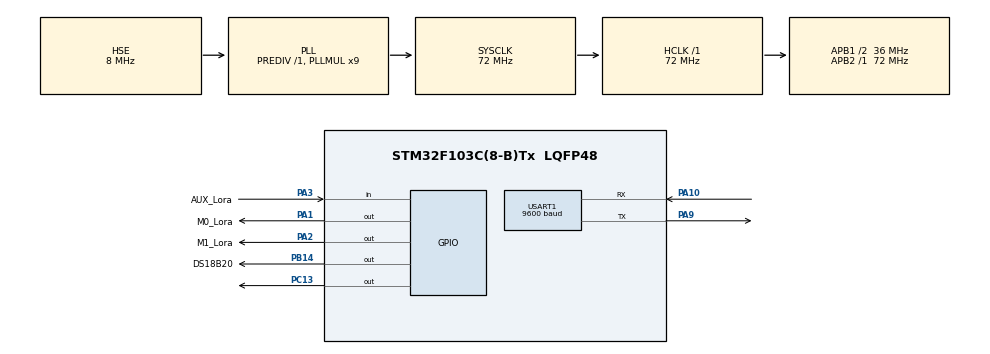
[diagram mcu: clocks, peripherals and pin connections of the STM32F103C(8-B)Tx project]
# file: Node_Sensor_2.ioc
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Mcu.Family=STM32F1
Mcu.Name=STM32F103C(8-B)Tx
Mcu.Package=LQFP48
NVIC.PriorityGroup=NVIC_PRIORITYGROUP_4
NVIC.USART1_IRQn=true\:1\:0\:true\:false\:true\:true\:true\:true
PA1.GPIO_Label=M0_Lora
PA1.Signal=GPIO_Output
PA10.Mode=Asynchronous
PA10.Signal=USART1_RX
PA13.Mode=Serial_Wire
PA13.Signal=SYS_JTMS-SWDIO
PA14.Mode=Serial_Wire
PA14.Signal=SYS_JTCK-SWCLK
PA2.GPIO_Label=M1_Lora
PA2.Signal=GPIO_Output
PA3.GPIO_Label=AUX_Lora
PA3.Signal=GPIO_Input
PA9.Mode=Asynchronous
PA9.Signal=USART1_TX
PB14.GPIO_Label=DS18B20
PB14.Signal=GPIO_Output
PC13-TAMPER-RTC.PinState=GPIO_PIN_RESET
PC13-TAMPER-RTC.Signal=GPIO_Output
PD0-OSC_IN.Mode=HSE-External-Oscillator
PD0-OSC_IN.Signal=RCC_OSC_IN
PD1-OSC_OUT.Mode=HSE-External-Oscillator
PD1-OSC_OUT.Signal=RCC_OSC_OUT
ProjectManager.HeapSize=0x200
ProjectManager.StackSize=0x400
ProjectManager.TargetToolchain=STM32CubeIDE
RCC.AHBFreq_Value=72000000
RCC.APB1CLKDivider=RCC_HCLK_DIV2
RCC.APB1Freq_Value=36000000
RCC.APB1TimFreq_Value=72000000
RCC.APB2Freq_Value=72000000
RCC.APB2TimFreq_Value=72000000
RCC.HCLKFreq_Value=72000000
RCC.PLLMUL=RCC_PLL_MUL9
RCC.PLLSourceVirtual=RCC_PLLSOURCE_HSE
RCC.SYSCLKFreq_VALUE=72000000
RCC.SYSCLKSource=RCC_SYSCLKSOURCE_PLLCLK
RCC.USBFreq_Value=72000000
TIM4.Prescaler=72-1
USART1.BaudRate=9600
USART1.VirtualMode=VM_ASYNC
VP_TIM4_VS_ClockSourceINT.Mode=Internal
board=custom

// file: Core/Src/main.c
/* USER CODE BEGIN Header */
/**
  ******************************************************************************
  * @file           : main.c
  * @brief          : Main program body
  ******************************************************************************
  * @attention
  *
  * <h2><center>&copy; Copyright (c) 2022 STMicroelectronics.
  * All rights reserved.</center></h2>
  *
  * This software component is licensed by ST under BSD 3-Clause license,
  * the "License"; You may not use this file except in compliance with the
  * License. You may obtain a copy of the License at:
  *                        opensource.org/licenses/BSD-3-Clause
  *
  ******************************************************************************
  */
/* USER CODE END Header */
#include "main.h"

/* USER CODE BEGIN Includes */
#include "string.h"
#include "math.h"
#include "DS18B20.h"
#include "stdio.h"

/* USER CODE END Includes */

/* USER CODE BEGIN PTD */
typedef enum option_t{
	TRANSPARENT,
	POINT2POINT
} option_t;

typedef enum mode_lora {
	  General_Mode,
	  Power_Saving_Mode,
	  Wake_up_Mode,
	  Sleep_Mode
} mode_lora;

typedef enum Trang_thai{
	FAIL,
	SUCCEED
} Trang_thai;

/* USER CODE END PTD */

 TIM_HandleTypeDef htim4;
UART_HandleTypeDef huart1;

/* USER CODE BEGIN PV */
  float temp;
	DS18B20_Name DS1;
	int temp_tenth, temp_unit, temp_decimal;
  char data[4];
  char data1[]="NO2";
	uint8_t flag=0;
/* USER CODE END PV */

void SystemClock_Config(void);
static void MX_GPIO_Init(void);
static void MX_USART1_UART_Init(void);
static void MX_TIM4_Init(void);

/* USER CODE BEGIN 0 */

// Function that changing mode of module Lora
Trang_thai change_mode(GPIO_TypeDef *GPIOx_AUX, uint16_t GPIO_Pin_AUX,
					   GPIO_TypeDef *GPIOx_M0, uint16_t GPIO_Pin_M0,
					   GPIO_TypeDef *GPIOx_M1, uint16_t GPIO_Pin_M1, mode_lora mode)
{
	GPIO_PinState read_pin_AUX = HAL_GPIO_ReadPin(GPIOx_AUX,GPIO_Pin_AUX);
	while(read_pin_AUX==GPIO_PIN_RESET){

	};
	HAL_Delay(5);
	if(read_pin_AUX==GPIO_PIN_SET){
		switch(mode)
			{
			case General_Mode:
				HAL_GPIO_WritePin(GPIOx_M0,GPIO_Pin_M0 , GPIO_PIN_RESET);
			  HAL_GPIO_WritePin(GPIOx_M1, GPIO_Pin_M1, GPIO_PIN_RESET);
			HAL_Delay(10);
			break;
			case Power_Saving_Mode:
				HAL_GPIO_WritePin(GPIOx_M0, GPIO_Pin_M0, GPIO_PIN_SET);
			  HAL_GPIO_WritePin(GPIOx_M1,GPIO_Pin_M1 , GPIO_PIN_RESET);
			HAL_Delay(10);
			break;
			case Wake_up_Mode:
				HAL_GPIO_WritePin(GPIOx_M0, GPIO_Pin_M0, GPIO_PIN_RESET);
			  HAL_GPIO_WritePin(GPIOx_M1,GPIO_Pin_M1 , GPIO_PIN_SET);
			HAL_Delay(10);
			break;
			case Sleep_Mode:
				HAL_GPIO_WritePin(GPIOx_M0,GPIO_Pin_M0 , GPIO_PIN_SET);
			  HAL_GPIO_WritePin(GPIOx_M1, GPIO_Pin_M1, GPIO_PIN_SET);
			HAL_Delay(10);
			break;
			default:
				HAL_GPIO_WritePin(GPIOx_M0,GPIO_Pin_M0 , GPIO_PIN_RESET);
			  HAL_GPIO_WritePin(GPIOx_M1,GPIO_Pin_M1 , GPIO_PIN_RESET);
			HAL_Delay(10);
				break;
		}
	};

	while(read_pin_AUX == GPIO_PIN_RESET)
	{

	};
	HAL_Delay(5);
if (read_pin_AUX	==GPIO_PIN_SET)
	{
		return SUCCEED;
	}
	else
	{
		return FAIL;
	}

}
// function that confige parameter for module Lora
void config_lora(UART_HandleTypeDef *huart, int baudrate,
					 uint8_t add_high_byte, uint8_t add_low_byte, option_t option)
{
	uint8_t SPEED;
	uint8_t OPTION;
	uint8_t ADDH = add_high_byte;
	uint8_t ADDL = add_low_byte;

	/* 433MHz */
	uint8_t CHAN = 0x17;
	switch(baudrate)
	{
		case 1200:
			SPEED = 0x02;
			break;
		case 2400:
			SPEED = 0x0A;
			break;
		case 4800:
			SPEED = 0x12;
			break;
		case 9600:
			SPEED = 0x1A;
			break;
		case 19200:
			SPEED = 0x22;
			break;
		case 38400:
			SPEED = 0x2A;
			break;
		case 57600:
			SPEED = 0x32;
			break;
		case 115200:
			SPEED = 0x3A;
			break;
		default:
			SPEED = 0x1A;
	};

	switch(option)
	{
		case TRANSPARENT:
			OPTION = 0x40 ;
			break;
		case POINT2POINT:
			OPTION = 0xC0;
			break;
		default:
			OPTION = 0x40;
		break;
	};

	uint8_t config_cmd[] = {0xC0, ADDH, ADDL, SPEED, CHAN, OPTION};

	/* Configure */

	HAL_UART_Transmit(huart, config_cmd, sizeof(config_cmd), 100);
	HAL_Delay(150);
}

// ISR of UART
void HAL_UART_RxCpltCallback(UART_HandleTypeDef *huart)
{
  // Check received data
   if(strcmp(data, data1) == 0){
    // First request of Gateway
		 if(flag==0){
      // Read Sensor
				temp=DS18B20_ReadTemp(&DS1);
				temp_tenth=(int)((temp)/10);
				temp_unit =(int)((int)temp%10);
				temp_decimal=(int)((temp-temp_tenth*10-temp_unit)*10);
				HAL_GPIO_TogglePin(GPIOC,GPIO_PIN_13);
      // Create message
				uint8_t TX_Buffer[]={0x00, 0x20, 0x17, temp_tenth+48, temp_unit+48, temp_decimal+48};
      // Transmit to module Lora
				HAL_UART_Transmit(huart, TX_Buffer, sizeof(TX_Buffer),100);
				flag=1;
		 }
     // Sencond request of Gateway (when message is missed in first time)
	   else if(flag==1){
				uint8_t TX_Buffer[]={ 0x00, 0x20, 0x17, temp_tenth+48, temp_unit+48, temp_decimal+48};
				HAL_UART_Transmit(huart, TX_Buffer, sizeof(TX_Buffer),100);
				flag=0;
		}
	 }
	 else{
		 flag=0;
	 }
}

/* USER CODE END 0 */

int main(void)
{

  /* MCU Configuration--------------------------------------------------------*/

  /* Reset of all peripherals, Initializes the Flash interface and the Systick. */
  HAL_Init();

  /* Configure the system clock */
  SystemClock_Config();

  /* Initialize all configured peripherals */
  MX_GPIO_Init();
  MX_USART1_UART_Init();
  MX_TIM4_Init();
  /* USER CODE BEGIN 2 */
	Trang_thai state;
  // Change to Sleep mode to configure
	state = change_mode(GPIOA, GPIO_PIN_3, GPIOA,GPIO_PIN_1, GPIOA, GPIO_PIN_2, Sleep_Mode);
	if(state==FAIL){
		state = change_mode(GPIOA, GPIO_PIN_3, GPIOA,GPIO_PIN_1, GPIOA, GPIO_PIN_2, Sleep_Mode);
	}
  // Configure address and channel
	config_lora(&huart1,9600,0x00, 0x02, POINT2POINT);
  // Change to General mode
	state = change_mode(GPIOA, GPIO_PIN_3, GPIOA,GPIO_PIN_1, GPIOA, GPIO_PIN_2, General_Mode);
  // Initilize sensor
	DS18B20_Init(&DS1, &htim4, DS18B20_GPIO_Port, DS18B20_Pin);

  /* USER CODE END 2 */

  /* Infinite loop */
  /* USER CODE BEGIN WHILE */
  while (1)
  {
    // Enable UART interrupt
	  HAL_UART_Receive_IT(&huart1, data, 3);
    /* USER CODE END WHILE */
    /* USER CODE BEGIN 3 */

		/*
  temp=DS18B20_ReadTemp(&DS1);
	temp_tenth=(int)((temp)/10);
	temp_unit =(int)((int)temp%10);
	temp_decimal=(int)((temp-temp_tenth*10-temp_unit)*10);
	HAL_GPIO_TogglePin(GPIOC,GPIO_PIN_13);
	uint8_t TX_Buffer[]={0x00, 0x20, 0x17, temp_tenth+48, temp_unit+48, temp_decimal+48};
	HAL_UART_Transmit(&huart1, TX_Buffer, sizeof(TX_Buffer),100);
	HAL_Delay(5000);
  }
		*/
  /* USER CODE END 3 */
}
}

void SystemClock_Config(void)
{
  RCC_OscInitTypeDef RCC_OscInitStruct = {0};
  RCC_ClkInitTypeDef RCC_ClkInitStruct = {0};

  /** Initializes the RCC Oscillators according to the specified parameters
  * in the RCC_OscInitTypeDef structure.
  */
  RCC_OscInitStruct.OscillatorType = RCC_OSCILLATORTYPE_HSE;
  RCC_OscInitStruct.HSEState = RCC_HSE_ON;
  RCC_OscInitStruct.HSEPredivValue = RCC_HSE_PREDIV_DIV1;
  RCC_OscInitStruct.HSIState = RCC_HSI_ON;
  RCC_OscInitStruct.PLL.PLLState = RCC_PLL_ON;
  RCC_OscInitStruct.PLL.PLLSource = RCC_PLLSOURCE_HSE;
  RCC_OscInitStruct.PLL.PLLMUL = RCC_PLL_MUL9;
  if (HAL_RCC_OscConfig(&RCC_OscInitStruct) != HAL_OK)
  {
    Error_Handler();
  }

  /** Initializes the CPU, AHB and APB buses clocks
  */
  RCC_ClkInitStruct.ClockType = RCC_CLOCKTYPE_HCLK|RCC_CLOCKTYPE_SYSCLK
                              |RCC_CLOCKTYPE_PCLK1|RCC_CLOCKTYPE_PCLK2;
  RCC_ClkInitStruct.SYSCLKSource = RCC_SYSCLKSOURCE_PLLCLK;
  RCC_ClkInitStruct.AHBCLKDivider = RCC_SYSCLK_DIV1;
  RCC_ClkInitStruct.APB1CLKDivider = RCC_HCLK_DIV2;
  RCC_ClkInitStruct.APB2CLKDivider = RCC_HCLK_DIV1;

  if (HAL_RCC_ClockConfig(&RCC_ClkInitStruct, FLASH_LATENCY_2) != HAL_OK)
  {
    Error_Handler();
  }
}

static void MX_TIM4_Init(void)
{

  TIM_ClockConfigTypeDef sClockSourceConfig = {0};
  TIM_MasterConfigTypeDef sMasterConfig = {0};

  htim4.Instance = TIM4;
  htim4.Init.Prescaler = 72-1;
  htim4.Init.CounterMode = TIM_COUNTERMODE_UP;
  htim4.Init.Period = 65535;
  htim4.Init.ClockDivision = TIM_CLOCKDIVISION_DIV1;
  htim4.Init.AutoReloadPreload = TIM_AUTORELOAD_PRELOAD_DISABLE;
  if (HAL_TIM_Base_Init(&htim4) != HAL_OK)
  {
    Error_Handler();
  }
  sClockSourceConfig.ClockSource = TIM_CLOCKSOURCE_INTERNAL;
  if (HAL_TIM_ConfigClockSource(&htim4, &sClockSourceConfig) != HAL_OK)
  {
    Error_Handler();
  }
  sMasterConfig.MasterOutputTrigger = TIM_TRGO_RESET;
  sMasterConfig.MasterSlaveMode = TIM_MASTERSLAVEMODE_DISABLE;
  if (HAL_TIMEx_MasterConfigSynchronization(&htim4, &sMasterConfig) != HAL_OK)
  {
    Error_Handler();
  }

}

static void MX_USART1_UART_Init(void)
{

  huart1.Instance = USART1;
  huart1.Init.BaudRate = 9600;
  huart1.Init.WordLength = UART_WORDLENGTH_8B;
  huart1.Init.StopBits = UART_STOPBITS_1;
  huart1.Init.Parity = UART_PARITY_NONE;
  huart1.Init.Mode = UART_MODE_TX_RX;
  huart1.Init.HwFlowCtl = UART_HWCONTROL_NONE;
  huart1.Init.OverSampling = UART_OVERSAMPLING_16;
  if (HAL_UART_Init(&huart1) != HAL_OK)
  {
    Error_Handler();
  }

}

static void MX_GPIO_Init(void)
{
  GPIO_InitTypeDef GPIO_InitStruct = {0};

  /* GPIO Ports Clock Enable */
  __HAL_RCC_GPIOC_CLK_ENABLE();
  __HAL_RCC_GPIOD_CLK_ENABLE();
  __HAL_RCC_GPIOA_CLK_ENABLE();
  __HAL_RCC_GPIOB_CLK_ENABLE();

  /*Configure GPIO pin Output Level */
  HAL_GPIO_WritePin(GPIOC, GPIO_PIN_13, GPIO_PIN_RESET);

  /*Configure GPIO pin Output Level */
  HAL_GPIO_WritePin(GPIOA, M0_Lora_Pin|M1_Lora_Pin, GPIO_PIN_RESET);

  /*Configure GPIO pin Output Level */
  HAL_GPIO_WritePin(DS18B20_GPIO_Port, DS18B20_Pin, GPIO_PIN_RESET);

  /*Configure GPIO pin : PC13 */
  GPIO_InitStruct.Pin = GPIO_PIN_13;
  GPIO_InitStruct.Mode = GPIO_MODE_OUTPUT_PP;
  GPIO_InitStruct.Pull = GPIO_NOPULL;
  GPIO_InitStruct.Speed = GPIO_SPEED_FREQ_LOW;
  HAL_GPIO_Init(GPIOC, &GPIO_InitStruct);

  /*Configure GPIO pins : M0_Lora_Pin M1_Lora_Pin */
  GPIO_InitStruct.Pin = M0_Lora_Pin|M1_Lora_Pin;
  GPIO_InitStruct.Mode = GPIO_MODE_OUTPUT_PP;
  GPIO_InitStruct.Pull = GPIO_NOPULL;
  GPIO_InitStruct.Speed = GPIO_SPEED_FREQ_LOW;
  HAL_GPIO_Init(GPIOA, &GPIO_InitStruct);

  /*Configure GPIO pin : AUX_Lora_Pin */
  GPIO_InitStruct.Pin = AUX_Lora_Pin;
  GPIO_InitStruct.Mode = GPIO_MODE_INPUT;
  GPIO_InitStruct.Pull = GPIO_NOPULL;
  HAL_GPIO_Init(AUX_Lora_GPIO_Port, &GPIO_InitStruct);

  /*Configure GPIO pin : DS18B20_Pin */
  GPIO_InitStruct.Pin = DS18B20_Pin;
  GPIO_InitStruct.Mode = GPIO_MODE_OUTPUT_PP;
  GPIO_InitStruct.Pull = GPIO_NOPULL;
  GPIO_InitStruct.Speed = GPIO_SPEED_FREQ_LOW;
  HAL_GPIO_Init(DS18B20_GPIO_Port, &GPIO_InitStruct);

}

void Error_Handler(void)
{
}
